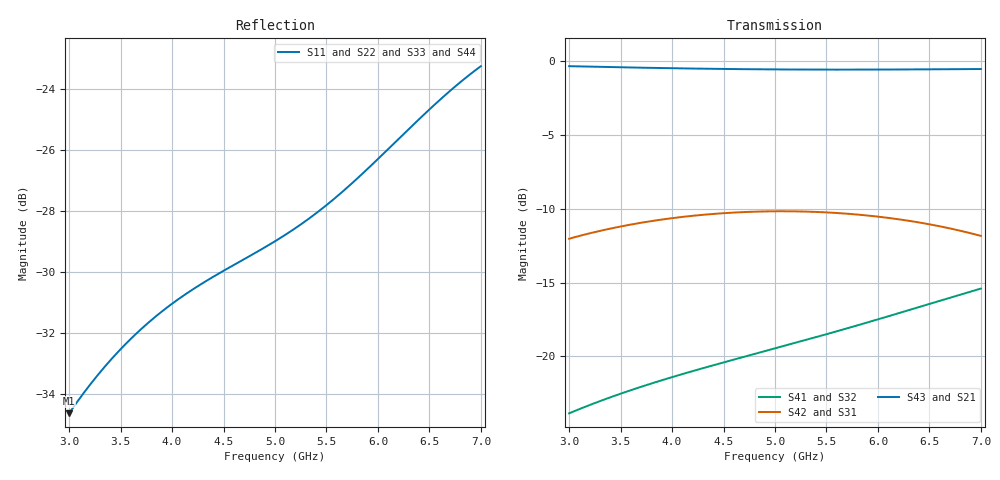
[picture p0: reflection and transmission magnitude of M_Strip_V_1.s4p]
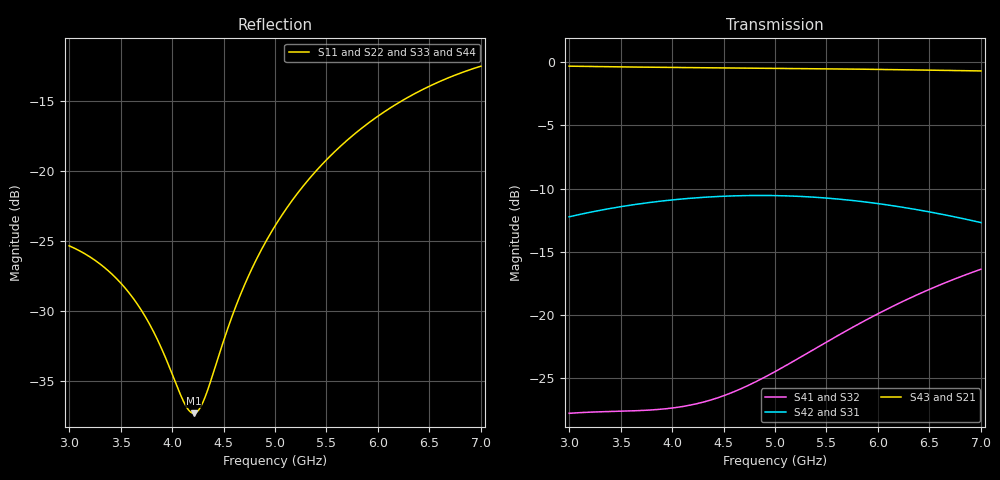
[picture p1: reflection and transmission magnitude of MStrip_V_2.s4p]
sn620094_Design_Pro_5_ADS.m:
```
%--------------------------------------------------------------------
%% EE-414-514-sn620094 - Design Project 5 
%----------------------------------------------------------------------
clearvars
clc
close all
%----------------------------------------------------------------------
% Units 
%----------------------------------------------------------------------
G = 10^9;
Meg = 10^6;
k = 10^+3;
c = 10^-2;
m = 10^-3;
u = 10^-6;
n = 10^-9;
%----------------------------------------------------------------------
% 
%----------------------------------------------------------------------
IFigure = 0;
NF = 32;
j = 1*j;
dfreq = 1;
df = 1*Meg;
f_min = 3*G;
f_max = 7*G;
freq = f_min : df : f_max;
freq = sort(freq);
freq = freq';
%----------------------------------------------------------------------
% port 4 is isolated
%----------------------------------------------------------------------
Z0 = 50;
f0 = 5*G;
theta_P = 60;

C_dB = 10;
C = 10^-(C_dB/20);
er = 10.7;

Z0e = Z0*sqrt((1+abs(C))/(1-abs(C)));
Z0o = Z0*sqrt((1-abs(C))/(1+abs(C)));
Print_Real_Unit('Z0e',Z0e,'Ohms')
Print_Real_Unit('Z0o',Z0o,'Ohms')
theta_e = 90;
theta_o = 90;

phi_e = (1/2)*theta_e;
phi_o = (1/2)*theta_o;

Zin_ee = -j*Z0e*cotd(phi_e);
Zin_eo = +j*Z0e*tand(phi_e);

Zin_oe = -j*Z0o*cotd(phi_o);
Zin_oo = +j*Z0o*tand(phi_o);


Print_Polar_Unit('Zin_ee',Zin_ee,'ohms')
Print_Polar_Unit('Zin_oe',Zin_oe,'ohms')
Print_Polar_Unit('Zin_eo',Zin_eo,'ohms')
Print_Polar_Unit('Zin_oo',Zin_oo,'ohms')


S11_ee=(Zin_ee - Z0)/(Zin_ee + Z0);
S11_eo=(Zin_eo - Z0)/(Zin_eo + Z0);
S11_oe=(Zin_oe - Z0)/(Zin_oe + Z0);
S11_oo=(Zin_oo - Z0)/(Zin_oo + Z0);


S11 = (1/4)*(S11_ee + S11_eo + S11_oe + S11_oo);
S21 = (1/4)*(S11_ee - S11_eo + S11_oe - S11_oo);
S31 = (1/4)*(S11_ee + S11_eo - S11_oe - S11_oo);
S41 = (1/4)*(S11_ee - S11_eo - S11_oe + S11_oo);
Ep = Polar_2_Rect(1, -theta_P);
u = eye(4,4);

s = [S11 S21 S31 S41;
      S21 S11 S41 S31;
      S31 S41 S11 S21;
      S41 S31 S21 S11];


Ep = Ep * u;
sp = Ep * s * Ep;

S11 = sp(1,1);
S21 = sp(2,1);
S31 = sp(3,1);
S41 = sp(4,1);
Print_Polar('S11',S11)
Print_Polar('S21',S21)
Print_Polar('S31',S31)
Print_Polar('S41',S41)
Print_Break
%%
RL = -20*log10((S11));
IL = -20*log10((S21));
C = -20*log10((S31));
I = -20*log10((S41));
D = I - C;
% %----------------------------------------------------------------------
% % ADS V0
% %----------------------------------------------------------------------
FileName_ADS = 'Ideal_TRL.s4p';
Folder_ADS = 'E:\Design Project-5\EE-414-514-DP5-ADS & MATLAB files\';
File_Loc_ADS_Amp = [Folder_ADS,FileName_ADS];
[f_ADS, S_ADS, Mult_ADS] = ...
Read_SParam_sNp(File_Loc_ADS_Amp);
f_ADS = f_ADS * Mult_ADS;
I_f0_ADS = f_ADS == f0;

% %----------------------------------------------------------------------
% %S ADS Parameters
% %----------------------------------------------------------------------
S11_ADS = S_ADS(:, 1, 1);
S11_ADS_Mag = abs(S11_ADS);
S11_ADS_dB = 20*log10(S11_ADS_Mag);

S21_ADS = S_ADS(:, 2, 1);
S21_ADS_Mag = abs(S21_ADS);
S21_ADS_dB = 20*log10(S21_ADS_Mag);

S31_ADS = S_ADS(:, 3, 1);
S31_ADS_Mag = abs(S31_ADS);
S31_ADS_dB = 20*log10(S31_ADS_Mag);

S41_ADS = S_ADS(:, 4, 1);
S41_ADS_Mag = abs(S41_ADS);
S41_ADS_dB = 20*log10(S41_ADS_Mag);
Print_Polar('S_11',S11_ADS(201))
RL_0 = abs(S11_ADS_dB(201));
IL_0 = abs(S21_ADS_dB(201));
C_0 = abs(S31_ADS_dB(201));
I_0 = abs(S41_ADS_dB(201));
D_0 = I_0 - C_0;
Print_Real_Unit('RL_0',RL_0,'dB')
Print_Real_Unit('IL_0',IL_0,'dB')
Print_Real_Unit('C_0',C_0,'dB')
Print_Real_Unit('I_0',I_0,'dB')
Print_Real_Unit('D_0',D_0,'dB')
%%
% %----------------------------------------------------------------------
% % ADS V1
% %----------------------------------------------------------------------
FileName_ADS1 = 'M_Strip_V_1.s4p';
Folder_ADS1 = 'E:\Design Project-5\EE-414-514-DP5-ADS & MATLAB files\';
File_Loc_ADS_Amp1 = [Folder_ADS1,FileName_ADS1];
[f_ADS1, S_ADS1, Mult_ADS1] = ...
Read_SParam_sNp(File_Loc_ADS_Amp1);
f_ADS1 = f_ADS1 * Mult_ADS1;


% %----------------------------------------------------------------------
% %S ADS Parameters
% %----------------------------------------------------------------------
S11_ADS1 = S_ADS1(:, 1, 1);
S11_ADS_Mag1 = abs(S11_ADS1);
S11_ADS_dB1 = 20*log10(S11_ADS_Mag1);

S21_ADS1 = S_ADS1(:, 2, 1);
S21_ADS_Mag1 = abs(S21_ADS1);
S21_ADS_dB1 = 20*log10(S21_ADS_Mag1);

S31_ADS1 = S_ADS1(:, 3, 1);
S31_ADS_Mag1 = abs(S31_ADS1);
S31_ADS_dB1 = 20*log10(S31_ADS_Mag1);

S41_ADS1 = S_ADS1(:, 4, 1);
S41_ADS_Mag1 = abs(S41_ADS1);
S41_ADS_dB1 = 20*log10(S41_ADS_Mag1);

RL_1 = abs(S11_ADS_dB1(201));
IL_1 = abs(S21_ADS_dB1(201));
C_1 = abs(S31_ADS_dB1(201));
I_1 = abs(S41_ADS_dB1(201));
D_1 = I_1 - C_1;
Print_Real_Unit('RL_1',RL_1,'dB')
Print_Real_Unit('IL_1',IL_1,'dB')
Print_Real_Unit('C_1',C_1,'dB')
Print_Real_Unit('I_1',I_1,'dB')
Print_Real_Unit('D_1',D_1,'dB')
%
% %----------------------------------------------------------------------
% % ADS V2
% %----------------------------------------------------------------------
FileName_ADS3 = 'MStrip_V_2.s4p';
Folder_ADS3 = 'E:\Design Project-5\EE-414-514-DP5-ADS & MATLAB files\';
File_Loc_ADS_Amp3 = [Folder_ADS,FileName_ADS3];
[f_ADS3, S_ADS3, Mult_ADS3] = ...
Read_SParam_sNp(File_Loc_ADS_Amp3);
f_ADS3 = f_ADS3 * Mult_ADS3;


% %----------------------------------------------------------------------
% %S ADS Parameters
% %----------------------------------------------------------------------
S11_ADS3 = S_ADS3(:, 1, 1);
S11_ADS_Mag3 = abs(S11_ADS3);
S11_ADS_dB3 = 20*log10(S11_ADS_Mag3);

S21_ADS3 = S_ADS3(:, 2, 1);
S21_ADS_Mag3 = abs(S21_ADS3);
S21_ADS_dB3 = 20*log10(S21_ADS_Mag3);

S31_ADS3 = S_ADS3(:, 3, 1);
S31_ADS_Mag3 = abs(S31_ADS3);
S31_ADS_dB3 = 20*log10(S31_ADS_Mag3);

S41_ADS3 = S_ADS3(:, 4, 1);
S41_ADS_Mag3 = abs(S41_ADS3);
S41_ADS_dB3 = 20*log10(S41_ADS_Mag3);

RL_3 = abs(S11_ADS_dB3(201));
IL_3 = abs(S21_ADS_dB3(201));
C_3 = abs(S31_ADS_dB3(201));
I_3 = abs(S41_ADS_dB3(201));
D_3 = I_3 - C_3;
Print_Real_Unit('RL_3',RL_3,'dB')
Print_Real_Unit('IL_3',IL_3,'dB')
Print_Real_Unit('C_3',C_3,'dB')
Print_Real_Unit('I_3',I_3,'dB')
Print_Real_Unit('D_3',D_3,'dB')
%
% %----------------------------------------------------------------------
% % S PARAMETER f0 
% %----------------------------------------------------------------------
IFigure = IFigure + 1;
figure_max(IFigure)
plot(f_ADS/G, S11_ADS_dB, 'r', 'linewidth', 6)
hold on
plot(f_ADS/G, S11_ADS_dB1, 'g', 'linewidth', 6);
plot(f_ADS/G, S11_ADS_dB3, 'b', 'linewidth', 6);
hold off
grid on
grid minor 
xlabel('{\itf} (GHz) ')
ylabel('| {\itS}_{11} | ( dB ) ', ...
'VerticalAlignment', 'bottom')
set(gca, 'FontName', 'times new roman', 'FontSize', NF)
title('S11')
legend('MATLAB','ADS (MStrip V1)','ADS (MStrip V2)')
axis([3*G/G, 7*G/G, -40, 0])
set(gca, 'xtick', f_min/G : 0.5 : f_max/G);
set(gca, 'linewidth', 2.0)

IFigure = IFigure + 1;
figure_max(IFigure)
plot(f_ADS/G, S21_ADS_dB, 'r', 'linewidth', 6)
hold on
plot(f_ADS/G, S21_ADS_dB1, 'g', 'linewidth', 6);
plot(f_ADS/G, S21_ADS_dB3, 'b', 'linewidth', 8);
hold off
grid on
grid minor 
xlabel('{\itf} (GHz) ')
ylabel('| {\itS}_{21} | ( dB ) ', ...
'VerticalAlignment', 'bottom')
set(gca, 'FontName', 'times new roman', 'FontSize', NF)
title('S21')
legend('MATLAB','ADS (MStrip V1)','ADS (MStrip V2)')
axis([3*G/G, 7*G/G, -0.8, 0])
set(gca, 'xtick', f_min/G : 0.5 : f_max/G);
set(gca, 'linewidth', 2.0)
%
IFigure = IFigure + 1;
figure_max(IFigure)
plot(f_ADS/G, S31_ADS_dB, 'r', 'linewidth', 6)
hold on
plot(f_ADS/G, S31_ADS_dB1, 'g', 'linewidth', 6);
plot(f_ADS/G, S31_ADS_dB3, 'b', 'linewidth', 8);
hold off
grid on
grid minor 
xlabel('{\itf} (GHz) ')
ylabel('| {\itS}_{31} | ( dB ) ', ...
'VerticalAlignment', 'bottom')
set(gca, 'FontName', 'times new roman', 'FontSize', NF)
title('S31')
legend('MATLAB','ADS (MStrip V1)','ADS (MStrip V2)')
axis([3*G/G, 7*G/G, -12.5, -8.75])
set(gca, 'xtick', f_min/G : 0.5 : f_max/G);
set(gca, 'linewidth', 2.0)


IFigure = IFigure + 1;
figure_max(IFigure)
plot(f_ADS/G, S41_ADS_dB, 'r', 'linewidth', 6)
hold on
plot(f_ADS/G, S41_ADS_dB1, 'g', 'linewidth', 6);
plot(f_ADS/G, S41_ADS_dB3, 'b', 'linewidth', 8);
hold off
grid on
grid minor 
xlabel('{\itf} (GHz) ')
ylabel('| {\itS}_{41} | ( dB ) ', ...
'VerticalAlignment', 'bottom')
set(gca, 'FontName', 'times new roman', 'FontSize', NF)
title('S41')
legend('MATLAB','ADS (MStrip V1)','ADS (MStrip V2)')
axis([3*G/G, 7*G/G, -40, 0])
set(gca, 'xtick', f_min/G : 0.5 : f_max/G);
set(gca, 'linewidth', 2.0)
```
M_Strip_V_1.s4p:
! Created Wed May  8 15:04:03 2024
# hz S ma R 50
! 4 Port Network Data from SP1.SP block
! freq  magS11  angS11  magS12  angS12  magS13  angS13  magS14  angS14
!  magS21  angS21  magS22  angS22  magS23  angS23  magS24  angS24
!  magS31  angS31  magS32  angS32  magS33  angS33  magS34  angS34
!  magS41  angS41  magS42  angS42  magS43  angS43  magS44  angS44
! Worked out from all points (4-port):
!   401 points, 3 GHz to 7 GHz, reference 50 ohm
!   strongest paths, dB at 3 GHz, 4 GHz, 5 GHz, 6 GHz, 7 GHz:
!     S43: -0.3, -0.5, -0.6, -0.6, -0.5
!     S21: -0.3, -0.5, -0.6, -0.6, -0.5
!     S42: -12.0, -10.6, -10.2, -10.5, -11.8
!     S31: -12.0, -10.6, -10.2, -10.5, -11.8
!     S41: -23.9, -21.4, -19.5, -17.5, -15.4
!     S32: -23.9, -21.4, -19.5, -17.5, -15.4
!   lowest |S11| = -34.6 dB at 3 GHz (marker M1), VSWR 1.04, Z = 49.7 - j1.82 ohm
!   |S11| at or under -10 dB: start of sweep to end of sweep
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3e9  0.01855 -98.7  0.9618 -126.0  0.2503 -36.2  0.06409 142.1
     0.9618 -126.0  0.01855 -98.7  0.06409 142.1  0.2503 -36.2
     0.2503 -36.2  0.06409 142.1  0.01855 -98.7  0.9618 -126.0
     0.06409 142.1  0.2503 -36.2  0.9618 -126.0  0.01855 -98.7
4.77e9  0.03371 165.2  0.939 159.6  0.3088 -110.4  0.1011 69.0
        0.939 159.6  0.03371 165.2  0.1011 69.0  0.3088 -110.4
        0.3088 -110.4  0.1011 69.0  0.03371 165.2  0.939 159.6
        0.1011 69.0  0.3088 -110.4  0.939 159.6  0.03371 165.2
7e9  0.06882 16.3  0.9406 63.5  0.2558 155.9  0.1696 -21.6
     0.9406 63.5  0.06882 16.3  0.1696 -21.6  0.2558 155.9
     0.2558 155.9  0.1696 -21.6  0.06882 16.3  0.9406 63.5
     0.1696 -21.6  0.2558 155.9  0.9406 63.5  0.06882 16.3
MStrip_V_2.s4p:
! Created Wed May  8 15:51:58 2024
# hz S ma R 50
! 4 Port Network Data from SP1.SP block
! freq  magS11  angS11  magS12  angS12  magS13  angS13  magS14  angS14
!  magS21  angS21  magS22  angS22  magS23  angS23  magS24  angS24
!  magS31  angS31  magS32  angS32  magS33  angS33  magS34  angS34
!  magS41  angS41  magS42  angS42  magS43  angS43  magS44  angS44
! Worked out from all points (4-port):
!   401 points, 3 GHz to 7 GHz, reference 50 ohm
!   strongest paths, dB at 3 GHz, 4 GHz, 5 GHz, 6 GHz, 7 GHz:
!     S43: -0.3, -0.4, -0.5, -0.6, -0.7
!     S21: -0.3, -0.4, -0.5, -0.6, -0.7
!     S42: -12.2, -10.9, -10.6, -11.2, -12.7
!     S31: -12.2, -10.9, -10.6, -11.2, -12.7
!     S41: -27.8, -27.3, -24.5, -19.9, -16.4
!     S32: -27.8, -27.3, -24.5, -19.9, -16.4
!   lowest |S11| = -37.3 dB at 4.21 GHz (marker M1), VSWR 1.03, Z = 48.8 + j0.64 ohm
!   |S11| at or under -10 dB: start of sweep to end of sweep
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3e9  0.0539 -71.4  0.9631 -151.0  0.2446 -61.6  0.04095 99.9
     0.9631 -151.0  0.0539 -71.4  0.04095 99.9  0.2446 -61.6
     0.2446 -61.6  0.04095 99.9  0.0539 -71.4  0.9631 -151.0
     0.04095 99.9  0.2446 -61.6  0.9631 -151.0  0.0539 -71.4
4.21e9  0.01361 151.2  0.9503 147.8  0.2903 -122.2  0.04441 57.6
        0.9503 147.8  0.01361 151.2  0.04441 57.6  0.2903 -122.2
        0.2903 -122.2  0.04441 57.6  0.01361 151.2  0.9503 147.8
        0.04441 57.6  0.2903 -122.2  0.9503 147.8  0.01361 151.2
7e9  0.2359 -77.4  0.9222 3.7  0.2323 103.3  0.1519 -63.2
     0.9222 3.7  0.2359 -77.4  0.1519 -63.2  0.2323 103.3
     0.2323 103.3  0.1519 -63.2  0.2359 -77.4  0.9222 3.7
     0.1519 -63.2  0.2323 103.3  0.9222 3.7  0.2359 -77.4
